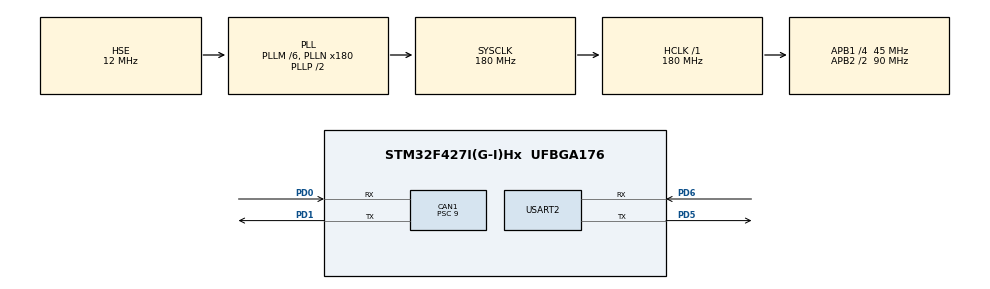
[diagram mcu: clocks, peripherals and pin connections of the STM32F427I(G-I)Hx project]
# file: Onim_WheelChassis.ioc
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CAN1.ABOM=ENABLE
CAN1.BS1=CAN_BS1_2TQ
CAN1.BS2=CAN_BS2_2TQ
CAN1.CalculateBaudRate=1000000
CAN1.CalculateTimeBit=1000
CAN1.CalculateTimeQuantum=200.0
CAN1.Prescaler=9
Dma.Request0=USART2_RX
Dma.Request1=USART2_TX
Dma.USART2_RX.0.Direction=DMA_PERIPH_TO_MEMORY
Dma.USART2_RX.0.FIFOMode=DMA_FIFOMODE_DISABLE
Dma.USART2_RX.0.Instance=DMA1_Stream5
Dma.USART2_RX.0.MemDataAlignment=DMA_MDATAALIGN_BYTE
Dma.USART2_RX.0.MemInc=DMA_MINC_ENABLE
Dma.USART2_RX.0.Mode=DMA_NORMAL
Dma.USART2_RX.0.PeriphDataAlignment=DMA_PDATAALIGN_BYTE
Dma.USART2_RX.0.PeriphInc=DMA_PINC_DISABLE
Dma.USART2_RX.0.Priority=DMA_PRIORITY_LOW
Dma.USART2_TX.1.Direction=DMA_MEMORY_TO_PERIPH
Dma.USART2_TX.1.FIFOMode=DMA_FIFOMODE_DISABLE
Dma.USART2_TX.1.Instance=DMA1_Stream6
Dma.USART2_TX.1.MemDataAlignment=DMA_MDATAALIGN_BYTE
Dma.USART2_TX.1.MemInc=DMA_MINC_ENABLE
Dma.USART2_TX.1.Mode=DMA_NORMAL
Dma.USART2_TX.1.PeriphDataAlignment=DMA_PDATAALIGN_BYTE
Dma.USART2_TX.1.PeriphInc=DMA_PINC_DISABLE
Dma.USART2_TX.1.Priority=DMA_PRIORITY_LOW
Mcu.Family=STM32F4
Mcu.Name=STM32F427I(G-I)Hx
Mcu.Package=UFBGA176
NVIC.CAN1_RX0_IRQn=true\:0\:0\:false\:false\:true\:true\:true\:true
NVIC.CAN1_RX1_IRQn=true\:0\:0\:false\:false\:true\:true\:true\:true
NVIC.DMA1_Stream5_IRQn=true\:0\:0\:false\:false\:true\:false\:true\:true
NVIC.DMA1_Stream6_IRQn=true\:0\:0\:false\:false\:true\:false\:true\:true
NVIC.PriorityGroup=NVIC_PRIORITYGROUP_4
NVIC.TIM3_IRQn=true\:0\:0\:false\:false\:true\:true\:true\:true
NVIC.USART2_IRQn=true\:0\:0\:false\:false\:true\:false\:true\:true
PA13.Mode=Serial_Wire
PA13.Signal=SYS_JTMS-SWDIO
PA14.Mode=Serial_Wire
PA14.Signal=SYS_JTCK-SWCLK
PD0.Mode=CAN_Activate
PD0.Signal=CAN1_RX
PD1.Mode=CAN_Activate
PD1.Signal=CAN1_TX
PD5.Mode=Asynchronous
PD5.Signal=USART2_TX
PD6.Mode=Asynchronous
PD6.Signal=USART2_RX
PH0/OSC_IN.Mode=HSE-External-Oscillator
PH0/OSC_IN.Signal=RCC_OSC_IN
PH1/OSC_OUT.Mode=HSE-External-Oscillator
PH1/OSC_OUT.Signal=RCC_OSC_OUT
ProjectManager.HeapSize=0x200
ProjectManager.StackSize=0x400
ProjectManager.TargetToolchain=CMake
RCC.48MHZClocksFreq_Value=90000000
RCC.AHBFreq_Value=180000000
RCC.APB1CLKDivider=RCC_HCLK_DIV4
RCC.APB1Freq_Value=45000000
RCC.APB1TimFreq_Value=90000000
RCC.APB2CLKDivider=RCC_HCLK_DIV2
RCC.APB2Freq_Value=90000000
RCC.APB2TimFreq_Value=180000000
RCC.CortexFreq_Value=180000000
RCC.HCLKFreq_Value=180000000
RCC.HSE_VALUE=12000000
RCC.HSI_VALUE=16000000
RCC.LSE_VALUE=32768
RCC.PLLM=6
RCC.PLLN=180
RCC.PLLSourceVirtual=RCC_PLLSOURCE_HSE
RCC.SYSCLKFreq_VALUE=180000000
RCC.SYSCLKSource=RCC_SYSCLKSOURCE_PLLCLK
RCC.VCOOutputFreq_Value=360000000
TIM3.Period=1000-1
TIM3.Prescaler=180-1
USART2.VirtualMode=VM_ASYNC
VP_TIM3_VS_ClockSourceINT.Mode=Internal
board=custom

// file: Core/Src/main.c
/* USER CODE BEGIN Header */
/**
  ******************************************************************************
  *
    file           : main.c
  * @brief          : Main program body
  ******************************************************************************
  *
    attention
  *
  * Copyright (c) 2026 STMicroelectronics.
  * All rights reserved.
  *
  * This software is licensed under terms that can be found in the LICENSE file
  * in the root directory of this software component.
  * If no LICENSE file comes with this software, it is provided AS-IS.
  *
  ******************************************************************************
  */
/* USER CODE END Header */
#include "main.h"
#include "can.h"
#include "dma.h"
#include "tim.h"
#include "usart.h"
#include "gpio.h"

/* USER CODE BEGIN Includes */

#include "dvc_DJMotor.h"
#include "drv_can.h"
#include "My_UART.h"
#include "Chassis.h"
#include "pid.h"
#include "serialplot.h"

/* USER CODE END Includes */

/* USER CODE BEGIN PM */

void CAN_Rx_Callback(Struct_CAN_Rx_Buffer *Rx_Buffer)
{
  switch (Rx_Buffer->Header.StdId)
  {
    case 0x201:
      DJ_Motor_Receive(&Omini_Chassis.Motor.Rx_Buffer[0], Rx_Buffer->Data);
      break;
    case 0x202:
      DJ_Motor_Receive(&Omini_Chassis.Motor.Rx_Buffer[1], Rx_Buffer->Data);
      break;
    case 0x203:
      DJ_Motor_Receive(&Omini_Chassis.Motor.Rx_Buffer[2], Rx_Buffer->Data);
      break;
    case 0x204:
      DJ_Motor_Receive(&Omini_Chassis.Motor.Rx_Buffer[3], Rx_Buffer->Data);
      break;

    default:
      break;
  }
}

void HAL_TIM_PeriodElapsedCallback(TIM_HandleTypeDef *htim)
{
  if (htim->Instance == TIM3)
  {
    if (Uart_RxFrame.Update)
    {
      Chassis_Control(&Omini_Chassis, Uart_RxFrame.X, Uart_RxFrame.Y, Uart_RxFrame.Omega);
      Uart_RxFrame.Update = 0;
    }
  }
}

void UART_Serialplot_Callback(uint8_t *Buffer, uint16_t Length)
{
  Serialplot_UART_RxCpltCallback(&Serialplot, Buffer);
  Uart_RxCallback(Buffer, Length);
}

char *rx_variable_list[] =
{
  "Kp",
  "Ki",
  "Kd"
};

/* USER CODE END PM */

/* USER CODE BEGIN PV */

uint32_t time_counter = 0;

/* USER CODE END PV */

void SystemClock_Config(void);

int main(void)
{

  /* MCU Configuration--------------------------------------------------------*/

  /* Reset of all peripherals, Initializes the Flash interface and the Systick. */
  HAL_Init();

  /* Configure the system clock */
  SystemClock_Config();

  /* Initialize all configured peripherals */
  MX_GPIO_Init();
  MX_DMA_Init();
  MX_CAN1_Init();
  MX_USART2_UART_Init();
  MX_TIM3_Init();
  /* USER CODE BEGIN 2 */

  CAN_Init(&hcan1, CAN_Rx_Callback);
  CAN_Filter_Mask_Config(&hcan1, CAN_FILTER(0) | CAN_FIFO_0 | CAN_STDID | CAN_DATA_TYPE, 0x200, 0x700);

  UART_Init(&huart2, tx_data, UART_TX_BUFFER_SIZE, rx_data, UART_RX_BUFFER_SIZE, UART_Serialplot_Callback);

/*
  Serialplot_Init(&Serialplot, &huart2, 3, rx_variable_list, Serialplot_Data_Type_FLOAT, 0xAA);
*/
  Chassis_Init(&Omini_Chassis, &hcan1, 0x200, CHASSIS_DISTANCE, CHASSIS_WHEEL_RADIUS);

  HAL_TIM_Base_Start_IT(&htim3);

  /* USER CODE END 2 */

  /* Infinite loop */
  /* USER CODE BEGIN WHILE */
  while (1)
  {
    /*
    float target_speed = Omini_Chassis.Motor.pid_speed[0].Target;
    float current_speed = Omini_Chassis.Motor.pid_speed[0].Current;
    float pid_output = Omini_Chassis.Motor.pid_speed[0].Output;
    Serialplot_Set_Data(&Serialplot, 3, &target_speed, &current_speed, &pid_output);
    Serialplot_TIM_Callback(&Serialplot, 3);
    */

    HAL_Delay(50);
  }
  /* USER CODE END WHILE */

}

void SystemClock_Config(void)
{
  RCC_OscInitTypeDef RCC_OscInitStruct = {0};
  RCC_ClkInitTypeDef RCC_ClkInitStruct = {0};

  /** Configure the main internal regulator output voltage
  */
  __HAL_RCC_PWR_CLK_ENABLE();
  __HAL_PWR_VOLTAGESCALING_CONFIG(PWR_REGULATOR_VOLTAGE_SCALE1);

  /** Initializes the RCC Oscillators according to the specified parameters
  * in the RCC_OscillatorTypeDef structure.
  */
  RCC_OscInitStruct.OscillatorType = RCC_OSCILLATORTYPE_HSE;
  RCC_OscInitStruct.HSEState = RCC_HSE_ON;
  RCC_OscInitStruct.PLL.PLLState = RCC_PLL_ON;
  RCC_OscInitStruct.PLL.PLLSource = RCC_PLLSOURCE_HSE;
  RCC_OscInitStruct.PLL.PLLM = 6;
  RCC_OscInitStruct.PLL.PLLN = 180;
  RCC_OscInitStruct.PLL.PLLP = RCC_PLLP_DIV2;
  RCC_OscInitStruct.PLL.PLLQ = 4;
  if (HAL_RCC_OscConfig(&RCC_OscInitStruct) != HAL_OK)
  {
    Error_Handler();
  }

  /** Activate the Over-Drive mode
  */
  if (HAL_PWREx_EnableOverDrive() != HAL_OK)
  {
    Error_Handler();
  }

  /** Initializes the CPU, AHB and APB buses
  */
  RCC_ClkInitStruct.ClockType = RCC_CLOCKTYPE_HCLK|RCC_CLOCKTYPE_SYSCLK
                              |RCC_CLOCKTYPE_PCLK1|RCC_CLOCKTYPE_PCLK2;
  RCC_ClkInitStruct.SYSCLKSource = RCC_SYSCLKSOURCE_PLLCLK;
  RCC_ClkInitStruct.AHBCLKDivider = RCC_SYSCLK_DIV1;
  RCC_ClkInitStruct.APB1CLKDivider = RCC_HCLK_DIV4;
  RCC_ClkInitStruct.APB2CLKDivider = RCC_HCLK_DIV2;

  if (HAL_RCC_ClockConfig(&RCC_ClkInitStruct, FLASH_LATENCY_5) != HAL_OK)
  {
    Error_Handler();
  }
}

void Error_Handler(void)
{
  __disable_irq();
  while (1)
  {
  }
}
